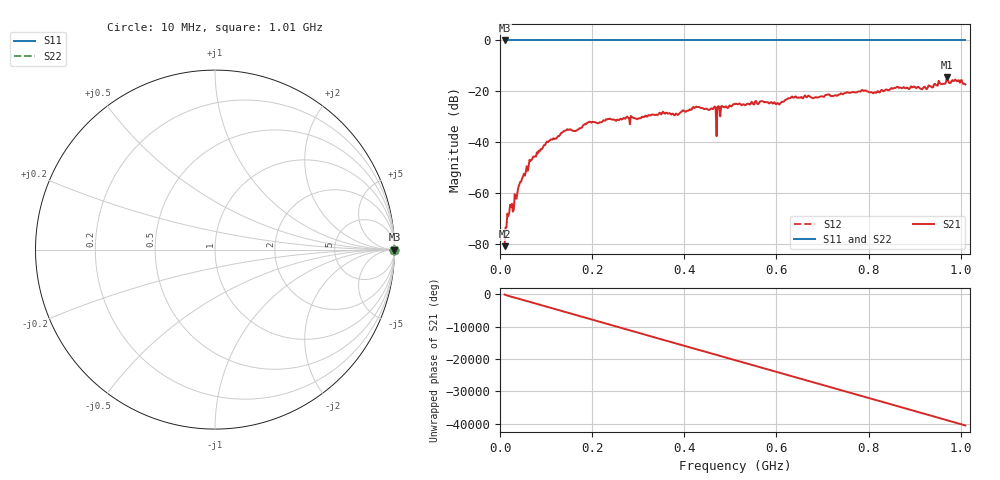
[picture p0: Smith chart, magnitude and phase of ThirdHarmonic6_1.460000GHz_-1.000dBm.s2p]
! 8/16/2025 4:58:29 PM
! C:\ANRITSUVNA\TEMP\TEMP.S2P
! CHANNEL.1
! TR.MEASUREMENT
! RAW.DATA
! RF.CORRECTION.OFF
! AVERAGING.OFF
! IF.BANDWIDTH: 5KHZ
! SWEEPTYPE:  FREQ.SWEEP(Linear)
! Reference Plane Port Info
! PORT:  PORT1  PORT2
! DISTANCE:  0  m  0  m
! TIME:  0  s  0  s
! PHASE.OFFSET:  0  deg.  0  deg.
! LOSS:  0  dB  0  dB
! REF.LOSS:  0  dB  0  dB
! REF.FREQ:  0  Hz  0  Hz
! Power Info
! POWER:  -20  dBm  -20  dBm
! EFF.POWER:  -20  dBm  -20  dBm
! SOURCE.ATTEN:  0  dB  0  dB
! TEST.ATTEN:  0  dB  0  dB
# GHZ S RI R 50.0
! FREQ.GHZ  S11RE  S11IM  S21RE  S21IM  S12RE  S12IM  S22RE  S22IM
!; PortSelection: Port_12
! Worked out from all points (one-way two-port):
!   501 points, 10 MHz to 1.01 GHz, reference 50 ohm
!   highest |S21| = -14.34 dB at 970 MHz (marker M1); lowest = -80.9 dB at 10 MHz (marker M2)
!   lowest |S11| = 0.0 dB at 10 MHz (marker M3)
!   |S11| at or under -10 dB: nowhere
!   |S22| runs from 0.0 to 0.0 dB; largest |S21 - S12| = 1.2
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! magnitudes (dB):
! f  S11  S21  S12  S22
! 10 MHz  0.0  -80.9  0.0  0.0
! 20 MHz  0.0  -67.8  0.0  0.0
! 32 MHz  0.0  -60.4  0.0  0.0
! 44 MHz  0.0  -55.6  0.0  0.0
! 68 MHz  0.0  -47.1  0.0  0.0
! 106 MHz  0.0  -39.6  0.0  0.0
! 142 MHz  0.0  -35.5  0.0  0.0
! 178 MHz  0.0  -34.2  0.0  0.0
! 234 MHz  0.0  -30.9  0.0  0.0
! 344 MHz  0.0  -29.1  0.0  0.0
! 382 MHz  0.0  -28.7  0.0  0.0
! 430 MHz  0.0  -26.2  0.0  0.0
! 464 MHz  0.0  -26.5  0.0  0.0
! 466 MHz  0.0  -26.0  0.0  0.0
! 474 MHz  0.0  -25.9  0.0  0.0
! 476 MHz  0.0  -26.2  0.0  0.0
! 510 MHz  0.0  -25.1  0.0  0.0
! 678 MHz  0.0  -22.7  0.0  0.0
! 844 MHz  0.0  -19.6  0.0  0.0
! 914 MHz  0.0  -19.1  0.0  0.0
! 970 MHz  0.0  -14.3  0.0  0.0
! 1.01 GHz  0.0  -17.3  0.0  0.0
